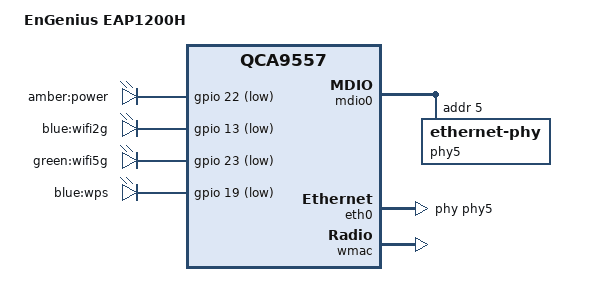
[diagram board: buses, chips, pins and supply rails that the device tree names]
// SPDX-License-Identifier: GPL-2.0-or-later OR MIT

#include "qca955x_senao_ap.dtsi"

/ {
	compatible = "engenius,eap1200h", "qca,qca9557";
	model = "EnGenius EAP1200H";

	leds {
		compatible = "gpio-leds";

		led_power: power {
			label = "amber:power";
			gpios = <&gpio 22 GPIO_ACTIVE_LOW>;
			default-state = "on";
		};

		wifi2g {
			label = "blue:wifi2g";
			gpios = <&gpio 13 GPIO_ACTIVE_LOW>;
			linux,default-trigger = "phy1tpt";
		};

		wifi5g {
			label = "green:wifi5g";
			gpios = <&gpio 23 GPIO_ACTIVE_LOW>;
			linux,default-trigger = "phy0tpt";
		};

		wps {
			label = "blue:wps";
			gpios = <&gpio 19 GPIO_ACTIVE_LOW>;
		};
	};
};

&mdio0 {
	status = "okay";

	phy5: ethernet-phy@5 {
		reg = <5>;
		eee-broken-100tx;
		eee-broken-1000t;
	};
};

&eth0 {
	phy-handle = <&phy5>;
};

&wmac {
	status = "okay";

	mtd-cal-data = <&art 0x1000>;
	mtd-mac-address = <&art 0x0>;
	mtd-mac-address-increment = <1>;
};
